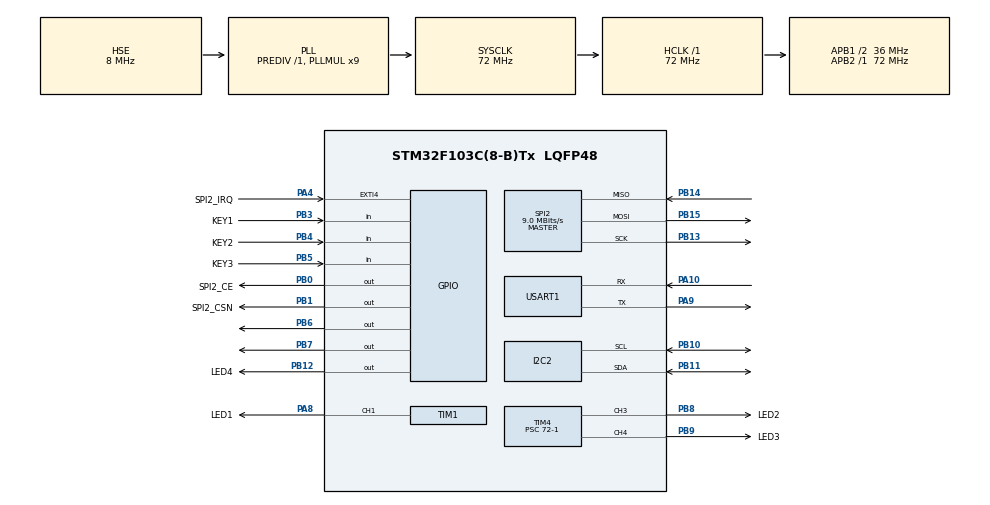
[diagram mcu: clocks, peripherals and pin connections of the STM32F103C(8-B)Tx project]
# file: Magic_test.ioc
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Mcu.Family=STM32F1
Mcu.Name=STM32F103C(8-B)Tx
Mcu.Package=LQFP48
NVIC.PriorityGroup=NVIC_PRIORITYGROUP_4
NVIC.SPI2_IRQn=true\:0\:0\:false\:false\:true\:true\:true\:true
NVIC.TIM2_IRQn=true\:0\:0\:false\:false\:true\:true\:true\:true
NVIC.USART1_IRQn=true\:0\:0\:false\:false\:true\:true\:true\:true
PA10.Mode=Asynchronous
PA10.Signal=USART1_RX
PA13.Mode=Serial_Wire
PA13.Signal=SYS_JTMS-SWDIO
PA14.Mode=Serial_Wire
PA14.Signal=SYS_JTCK-SWCLK
PA4.GPIO_Label=SPI2_IRQ
PA4.Signal=GPXTI4
PA8.GPIO_Label=LED1
PA8.Signal=S_TIM1_CH1
PA9.Mode=Asynchronous
PA9.Signal=USART1_TX
PB0.GPIO_Label=SPI2_CE
PB0.Signal=GPIO_Output
PB1.GPIO_Label=SPI2_CSN
PB1.PinState=GPIO_PIN_SET
PB1.Signal=GPIO_Output
PB10.Mode=I2C
PB10.Signal=I2C2_SCL
PB11.Mode=I2C
PB11.Signal=I2C2_SDA
PB12.GPIO_Label=LED4
PB12.Signal=GPIO_Output
PB13.Mode=Full_Duplex_Master
PB13.Signal=SPI2_SCK
PB14.Mode=Full_Duplex_Master
PB14.Signal=SPI2_MISO
PB15.Mode=Full_Duplex_Master
PB15.Signal=SPI2_MOSI
PB3.GPIO_Label=KEY1
PB3.GPIO_PuPd=GPIO_PULLUP
PB3.Signal=GPIO_Input
PB4.GPIO_Label=KEY2
PB4.GPIO_PuPd=GPIO_PULLUP
PB4.Signal=GPIO_Input
PB5.GPIO_Label=KEY3
PB5.GPIO_PuPd=GPIO_PULLUP
PB5.Signal=GPIO_Input
PB6.GPIO_Speed=GPIO_SPEED_FREQ_HIGH
PB6.PinState=GPIO_PIN_SET
PB6.Signal=GPIO_Output
PB7.GPIO_Speed=GPIO_SPEED_FREQ_HIGH
PB7.PinState=GPIO_PIN_SET
PB7.Signal=GPIO_Output
PB8.GPIO_Label=LED2
PB8.Signal=S_TIM4_CH3
PB9.GPIO_Label=LED3
PB9.Signal=S_TIM4_CH4
PD0-OSC_IN.Mode=HSE-External-Oscillator
PD0-OSC_IN.Signal=RCC_OSC_IN
PD1-OSC_OUT.Mode=HSE-External-Oscillator
PD1-OSC_OUT.Signal=RCC_OSC_OUT
ProjectManager.HeapSize=0x200
ProjectManager.StackSize=0x400
ProjectManager.TargetToolchain=MDK-ARM V5
RCC.AHBFreq_Value=72000000
RCC.APB1CLKDivider=RCC_HCLK_DIV2
RCC.APB1Freq_Value=36000000
RCC.APB1TimFreq_Value=72000000
RCC.APB2Freq_Value=72000000
RCC.APB2TimFreq_Value=72000000
RCC.HCLKFreq_Value=72000000
RCC.PLLMUL=RCC_PLL_MUL9
RCC.PLLSourceVirtual=RCC_PLLSOURCE_HSE
RCC.SYSCLKFreq_VALUE=72000000
RCC.SYSCLKSource=RCC_SYSCLKSOURCE_PLLCLK
RCC.USBFreq_Value=72000000
SH.S_TIM1_CH1.0=TIM1_CH1,PWM Generation1 CH1
SH.S_TIM4_CH3.0=TIM4_CH3,PWM Generation3 CH3
SH.S_TIM4_CH4.0=TIM4_CH4,PWM Generation4 CH4
SPI2.BaudRatePrescaler=SPI_BAUDRATEPRESCALER_4
SPI2.CLKPhase=SPI_PHASE_2EDGE
SPI2.CalculateBaudRate=9.0 MBits/s
SPI2.Direction=SPI_DIRECTION_2LINES
SPI2.Mode=SPI_MODE_MASTER
SPI2.VirtualType=VM_MASTER
TIM1.Channel-PWM\ Generation1\ CH1=TIM_CHANNEL_1
TIM1.Period=1000-1
TIM1.Prescaler=72-1
TIM2.Period=10000-1
TIM2.Prescaler=72-1
TIM4.Channel-PWM\ Generation3\ CH3=TIM_CHANNEL_3
TIM4.Channel-PWM\ Generation4\ CH4=TIM_CHANNEL_4
TIM4.Period=1000-1
TIM4.Prescaler=72-1
USART1.VirtualMode=VM_ASYNC
VP_TIM2_VS_ClockSourceINT.Mode=Internal
board=custom

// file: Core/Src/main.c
/* USER CODE BEGIN Header */
/**
  ******************************************************************************
  * @file           : main.c
  * @brief          : Main program body
  ******************************************************************************
  * @attention
  *
  * Copyright (c) 2024 STMicroelectronics.
  * All rights reserved.
  *
  * This software is licensed under terms that can be found in the LICENSE file
  * in the root directory of this software component.
  * If no LICENSE file comes with this software, it is provided AS-IS.
  *
  ******************************************************************************
  */
/* USER CODE END Header */
#include "main.h"
#include "i2c.h"
#include "spi.h"
#include "tim.h"
#include "usart.h"
#include "gpio.h"

/* USER CODE BEGIN Includes */
#include "OLED.h"
#include "stdio.h"
#include "MPU6050driver.h"
#include "mahony.h"
#include "ahrs.h"
#include "imu_data.h"
#include "commu.h"
#include "LED.h"
#include "NRF24L01.h"
/* USER CODE END Includes */

void SystemClock_Config(void);

/* USER CODE BEGIN 0 */

int fputc(int ch,FILE *f)
{
	uint8_t temp[1] = {ch};

	//采用轮询方式发送1字节数据
	HAL_UART_Transmit(&huart1,temp,1,2);
	return ch;
}

int maxduty = 0;
void HAL_TIM_PeriodElapsedCallback(TIM_HandleTypeDef *htim)
{
	if(htim->Instance==TIM2)
	{
		imuCalculateEstimatedAttitude();

		LED_Callback(maxduty);
		//navi_calculate();

	}
}
uint8_t key;
/* USER CODE END 0 */

int main(void)
{

  /* MCU Configuration--------------------------------------------------------*/

  /* Reset of all peripherals, Initializes the Flash interface and the Systick. */
  HAL_Init();

  /* Configure the system clock */
  SystemClock_Config();

  /* Initialize all configured peripherals */
  MX_GPIO_Init();
  MX_I2C2_Init();
  MX_USART1_UART_Init();
  MX_TIM2_Init();
  MX_SPI2_Init();
  MX_TIM1_Init();
  MX_TIM4_Init();
  /* USER CODE BEGIN 2 */
	Filter_init();
	OLED_Init();
	while(MPU_Init()==1){HAL_Delay(10);}//初始化成功跳出循环
	HAL_Delay(100);
	FusionAhrsInitialise(&ahrs);//初始化ahrs
//	OLED_ShowString(1,7,"test");
	HAL_TIM_Base_Start_IT(&htim2);

	//NRF24L01_Init( );
	while(NRF24L01_Check())
	{
			printf("硬件查寻不到NRF24L01无线模块\r\n");
			HAL_Delay(1000);
	}
	printf("NRF24L01无线模块硬件连接正常\r\n");
	NRF24L01_TX_Mode();
  printf("进入数据发送模式\r\n");

	HAL_TIM_PWM_Start(&htim1, TIM_CHANNEL_1);
	HAL_TIM_PWM_Start(&htim4, TIM_CHANNEL_3);
	HAL_TIM_PWM_Start(&htim4, TIM_CHANNEL_4);

//	__HAL_TIM_SET_COMPARE(&htim1,TIM_CHANNEL_1,1000);
//	__HAL_TIM_SET_COMPARE(&htim4,TIM_CHANNEL_3,500);
//	__HAL_TIM_SET_COMPARE(&htim4,TIM_CHANNEL_4,250);
  /* USER CODE END 2 */

  /* Infinite loop */
  while (1)
  {

    /* USER CODE BEGIN 3 */

		key = KEY_Scan(1);
//		printf("%d \r\n ",key);
		switch(key)
		{
			case 3:
				if(maxduty>=1000)
					maxduty =1000;
				else
					maxduty += 20;
				break;

			case 6:
				if(maxduty<=0)
					maxduty =0;
				else
					maxduty -= 20;
				break;
		}
		if(imu_offset_flag)
		{
			sent_data();
		}
		OLED_ShowString(1,1,"LED:");
		OLED_ShowFNum(1, 5, maxduty/10.0f, 4, 1);
		OLED_ShowString(1,11,"%");
		OLED_ShowString(2,1,"roll");
		OLED_ShowFNum(2, 7, attitude_roll, 6, 3);
		OLED_ShowString(3,1,"pitch");
		OLED_ShowFNum(3, 7, attitude_pitch, 6, 3);
		OLED_ShowString(4,1,"yaw");
		OLED_ShowFNum(4, 7, attitude_yaw, 6, 3);

  }
  /* USER CODE END 3 */
}

void SystemClock_Config(void)
{
  RCC_OscInitTypeDef RCC_OscInitStruct = {0};
  RCC_ClkInitTypeDef RCC_ClkInitStruct = {0};

  /** Initializes the RCC Oscillators according to the specified parameters
  * in the RCC_OscInitTypeDef structure.
  */
  RCC_OscInitStruct.OscillatorType = RCC_OSCILLATORTYPE_HSE;
  RCC_OscInitStruct.HSEState = RCC_HSE_ON;
  RCC_OscInitStruct.HSEPredivValue = RCC_HSE_PREDIV_DIV1;
  RCC_OscInitStruct.HSIState = RCC_HSI_ON;
  RCC_OscInitStruct.PLL.PLLState = RCC_PLL_ON;
  RCC_OscInitStruct.PLL.PLLSource = RCC_PLLSOURCE_HSE;
  RCC_OscInitStruct.PLL.PLLMUL = RCC_PLL_MUL9;
  if (HAL_RCC_OscConfig(&RCC_OscInitStruct) != HAL_OK)
  {
    Error_Handler();
  }

  /** Initializes the CPU, AHB and APB buses clocks
  */
  RCC_ClkInitStruct.ClockType = RCC_CLOCKTYPE_HCLK|RCC_CLOCKTYPE_SYSCLK
                              |RCC_CLOCKTYPE_PCLK1|RCC_CLOCKTYPE_PCLK2;
  RCC_ClkInitStruct.SYSCLKSource = RCC_SYSCLKSOURCE_PLLCLK;
  RCC_ClkInitStruct.AHBCLKDivider = RCC_SYSCLK_DIV1;
  RCC_ClkInitStruct.APB1CLKDivider = RCC_HCLK_DIV2;
  RCC_ClkInitStruct.APB2CLKDivider = RCC_HCLK_DIV1;

  if (HAL_RCC_ClockConfig(&RCC_ClkInitStruct, FLASH_LATENCY_2) != HAL_OK)
  {
    Error_Handler();
  }
}

void Error_Handler(void)
{
  __disable_irq();
  while (1)
  {
  }
}
